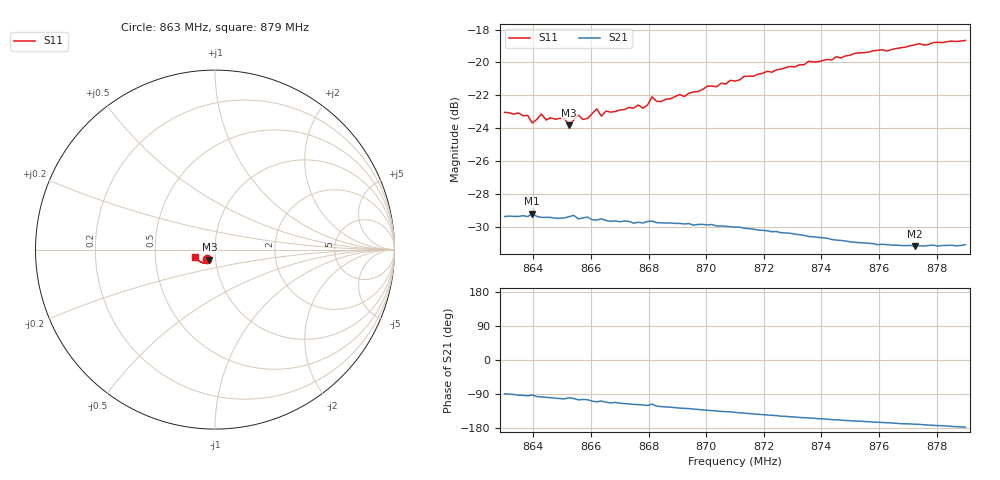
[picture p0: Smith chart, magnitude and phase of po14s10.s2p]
# HZ S RI R 50
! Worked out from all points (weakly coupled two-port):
!   101 points, 863 MHz to 879 MHz, reference 50 ohm
!   highest |S21| = -29.21 dB at 863.96 MHz (marker M1); lowest = -31.2 dB at 877.24 MHz (marker M2)
!   lowest |S11| = -23.8 dB at 865.24 MHz (marker M3), VSWR 1.14, Z = 46.6 - j5.24 ohm
!   |S11| at or under -10 dB: start of sweep to end of sweep
!   S12 and S22 are empty: the file has one direction only
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8.63e8  -0.0443 -0.0548  0.000571 -0.0339  0 0  0 0
8.638e8  -0.0411 -0.0553  -0.00265 -0.0338  0 0  0 0
8.6396e8  -0.037 -0.0539  -0.00143 -0.0346  0 0  0 0
8.6428e8  -0.0388 -0.0578  -0.00441 -0.0334  0 0  0 0
8.6444e8  -0.0387 -0.0545  -0.00502 -0.0334  0 0  0 0
8.6508e8  -0.037 -0.0563  -0.00731 -0.0328  0 0  0 0
8.6524e8  -0.0317 -0.056  -0.00558 -0.0334  0 0  0 0
8.6556e8  -0.0376 -0.058  -0.00875 -0.0322  0 0  0 0
8.6572e8  -0.0327 -0.0585  -0.00826 -0.0326  0 0  0 0
8.662e8  -0.0411 -0.0594  -0.0115 -0.031  0 0  0 0
8.6636e8  -0.0338 -0.0597  -0.0104 -0.0317  0 0  0 0
8.6652e8  -0.0362 -0.0612  -0.012 -0.0307  0 0  0 0
8.6764e8  -0.0365 -0.0646  -0.0152 -0.0289  0 0  0 0
8.678e8  -0.0359 -0.0631  -0.0156 -0.0284  0 0  0 0
8.6796e8  -0.036 -0.0648  -0.0163 -0.0284  0 0  0 0
8.6812e8  -0.0412 -0.0669  -0.0147 -0.0294  0 0  0 0
8.6844e8  -0.038 -0.0658  -0.0177 -0.0272  0 0  0 0
8.71e8  -0.0489 -0.0728  -0.0235 -0.021  0 0  0 0
8.7372e8  -0.068 -0.0738  -0.0264 -0.0131  0 0  0 0
8.7644e8  -0.0917 -0.06  -0.027 -0.0066  0 0  0 0
8.7724e8  -0.0985 -0.0557  -0.0271 -0.00497  0 0  0 0
8.79e8  -0.1101 -0.0386  -0.0278 -0.00137  0 0  0 0
